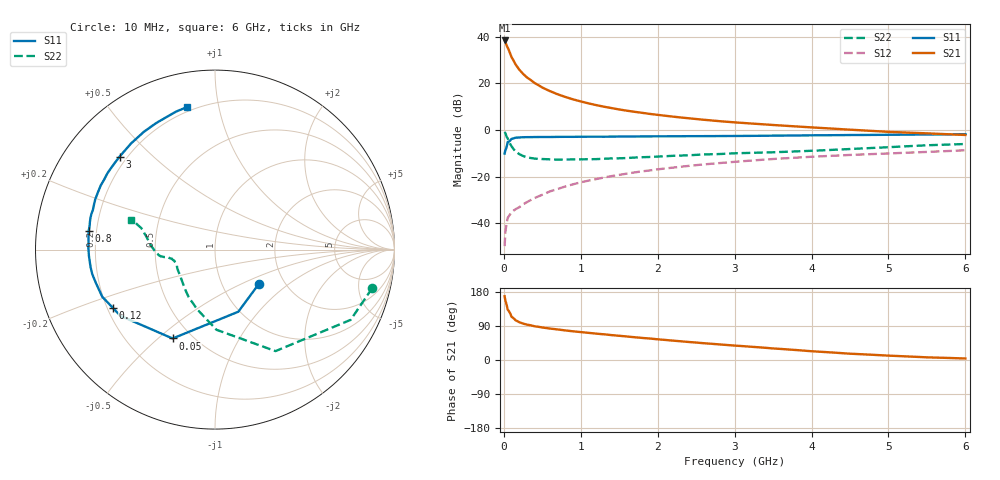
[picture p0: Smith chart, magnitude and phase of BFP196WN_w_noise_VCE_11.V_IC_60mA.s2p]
! Infineon Technologies  Discrete & RF Semiconductors
! BFP196WN
! VCE =  11. V,  IC =  60 mA
! Common Emitter S-Parameters:  Jan 2017
# GHz  S  MA  R  50
!  f  S11  S21  S12  S22
! GHz  MAG  ANG  MAG  ANG  MAG  ANG  MAG  ANG
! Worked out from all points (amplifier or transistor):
!   77 points, 10 MHz to 6 GHz, reference 50 ohm
!   highest |S21| = 38.4 dB at 10 MHz (marker M1)
!   |S21| within 3 dB of that: start of sweep to 49.16 MHz
!   unconditionally stable (mu >= 1): 644 MHz to 2.61 GHz
!   at 130 MHz: K = 0.54, MSG = 32.0 dB, |S12| = -34.6 dB
!   at 2.2 GHz: K = 1.02, MAG = 10.1 dB, |S12| = -16.2 dB
!   at 6 GHz: K = 0.89, MSG = 3.3 dB, |S12| = -8.7 dB
!   lowest NFmin = 1.38 dB at 450 MHz
!   S11 on the Smith chart (normalised r, x): 10 MHz: 1.49, -0.63; 50 MHz: 0.39, -0.56; 120 MHz: 0.22, -0.25; 800 MHz: 0.17, +0.07; 3 GHz: 0.17, +0.40; 6 GHz: 0.18, +0.81
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0.01  0.3103 -37.9  83.28 168.3  0.0032 72.3  0.9018 -13.8
0.02  0.3696 -69.4  76.91 156.8  0.0064 72.2  0.851 -27.4
0.05  0.5487 -115.5  58.57 133.0  0.0129 54.5  0.6584 -59.2
0.1  0.6433 -145.0  36.42 114.1  0.017 48.5  0.4465 -89.0
0.12  0.6547 -150.1  32.1 111.2  0.0181 48.4  0.4025 -95.0
0.15  0.6809 -157.3  25.83 105.2  0.0198 48.3  0.3473 -106.6
0.2  0.6888 -164.2  19.76 99.8  0.0219 51.6  0.3029 -118.9
0.25  0.6974 -168.7  15.98 96.1  0.0253 54.2  0.2764 -127.2
0.3  0.7001 -172.0  13.41 93.4  0.0282 56.9  0.2583 -134.2
0.4  0.7033 -177.2  10.15 89.0  0.0345 61.5  0.2427 -143.1
0.5  0.7056 179.3  8.132 85.8  0.0406 64.4  0.2373 -149.5
0.6  0.7056 176.5  6.798 83.0  0.048 66.2  0.234 -154.2
0.7  0.709 174.0  5.824 80.6  0.0541 67.5  0.2303 -157.3
0.8  0.7115 171.5  5.1 78.0  0.0612 68.3  0.2312 -159.3
1.1  0.7161 165.6  3.718 71.7  0.0817 68.2  0.2349 -164.5
1.5  0.721 158.7  2.749 63.9  0.1085 67.2  0.2463 -168.3
2.1  0.7301 149.1  2.016 52.9  0.149 63.7  0.273 -170.9
3  0.7422 135.7  1.453 38.0  0.2068 57.0  0.3152 -174.4
3.1  0.7436 134.2  1.416 36.7  0.2129 56.1  0.3184 -175.1
4.1  0.7681 119.9  1.109 21.9  0.2703 47.9  0.3628 174.9
5.1  0.7888 109.1  0.896 10.7  0.3177 40.5  0.4344 163.3
6  0.8092 101.2  0.779 4.0  0.366 34.5  0.4988 160.4
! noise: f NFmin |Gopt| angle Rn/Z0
0.45  1.38  0.55  -177  0.05
0.9  1.49  0.57  -169  0.06
1.9  2.42  0.69  -147  0.18
2.4  3.19  0.7  -139  0.3
